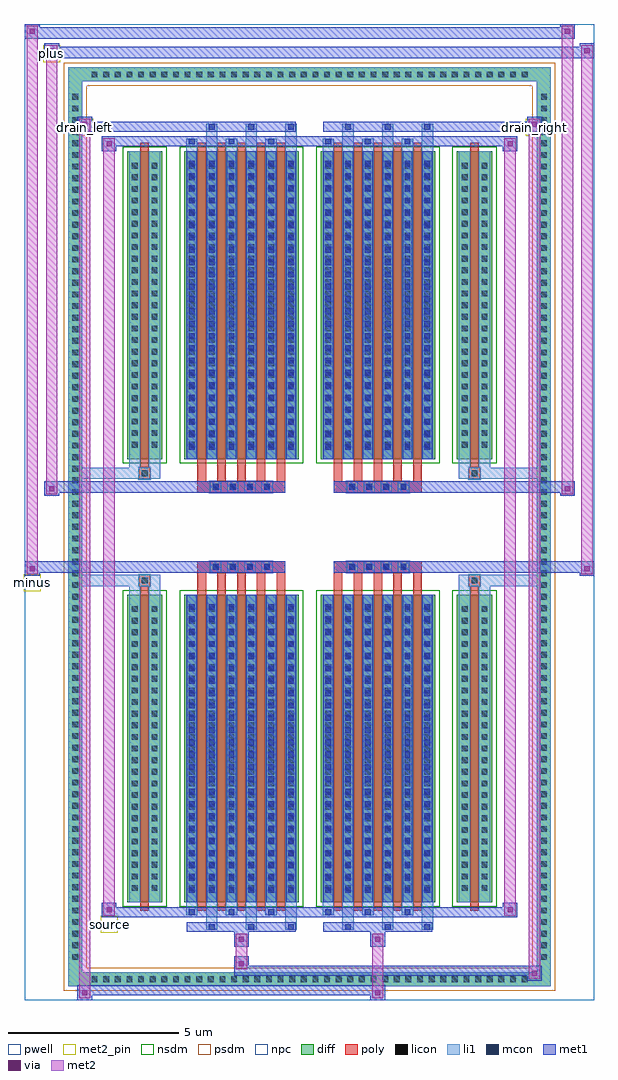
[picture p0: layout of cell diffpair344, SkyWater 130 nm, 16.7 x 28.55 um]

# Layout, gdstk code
import gdstk
lib = gdstk.Library(unit=1e-6, precision=5e-09)
def R(c, l, rs):  # rectangles x0, y0, x1, y1
    for r in rs: c.add(gdstk.rectangle(r[:2], r[2:], *l))
def A(c, l, x, y, w, h, nx, ny, dx, dy):  # array of equal rectangles
    R(c, l, [(x+i*dx, y+j*dy, x+i*dx+w, y+j*dy+h) for i in range(nx) for j in range(ny)])
def P(c, l, *ps):  # polygons
    for p in ps: c.add(gdstk.Polygon(p, *l))
pwell = (64, 44)
diff = (65, 20)
poly = (66, 20)
licon = (66, 44)
li1 = (67, 20)
mcon = (67, 44)
met1 = (68, 20)
via = (68, 44)
met2_pin = (69, 16)
met2 = (69, 20)
nsdm = (93, 44)
psdm = (94, 20)
npc = (95, 20)

diffpair344 = lib.new_cell('diffpair344')
R(diffpair344, pwell, [(-8.33,-13.84,8.33,14.71), (-5.65,-12.03,-0.01,-0.805), (0.01,-12.03,5.65,-0.805), (-5.65,0.805,-0.01,12.03), (0.01,0.805,5.65,12.03)])
A(diffpair344, diff, -6.495, -13.44, 0.41, 0.41, 38, 2, 0.34, 26.47)
A(diffpair344, diff, -7.06, -12.785, 0.41, 0.41, 1, 75, 0, 0.34)
A(diffpair344, diff, 6.65, -12.785, 0.41, 0.41, 1, 75, 0, 0.34)
R(diffpair344, diff, [(-6.495,-13.44,6.495,-13.03), (-7.06,-12.785,-6.65,12.785), (6.65,-12.785,7.06,12.785), (-5.34,-10.985,-4.31,-1.985), (-3.67,-10.985,-0.32,-1.985), (0.32,-10.985,3.67,-1.985), (4.31,-10.985,5.34,-1.985), (-5.34,1.985,-4.31,10.985), (-3.67,1.985,-0.32,10.985), (0.32,1.985,3.67,10.985), (4.31,1.985,5.34,10.985), (-6.495,13.03,6.495,13.44)])
P(diffpair344, diff, [(7.06,13.44),(-7.06,13.44),(-7.06,-13.03),(-6.65,-13.03),(-6.65,13.03),(6.65,13.03),(6.65,-13.03),(-6.65,-13.03),(-7.06,-13.03),(-7.06,-13.44),(7.06,-13.44)])
A(diffpair344, poly, -3.28, -11.235, 0.25, 9.5, 5, 2, 0.58, 12.97)
A(diffpair344, poly, 0.71, -11.235, 0.25, 9.5, 5, 2, 0.58, 12.97)
A(diffpair344, poly, -3.28, -1.735, 0.25, 0.4, 5, 2, 0.58, 3.07)
A(diffpair344, poly, 0.71, -1.735, 0.25, 0.4, 5, 2, 0.58, 3.07)
A(diffpair344, poly, -2.91, -1.335, 0.33, 0.33, 4, 2, 0.5, 2.34)
A(diffpair344, poly, 1.08, -1.335, 0.33, 0.33, 4, 2, 0.5, 2.34)
R(diffpair344, poly, [(-4.95,-11.235,-4.7,-1.735), (4.7,-11.235,4.95,-1.735), (-4.99,-1.735,-4.66,-1.405), (-4.99,-1.735,-4.66,-1.405), (4.66,-1.735,4.99,-1.405), (4.66,-1.735,4.99,-1.405), (-3.28,-1.335,-0.71,-1.005), (0.71,-1.335,3.28,-1.005), (-3.28,1.005,-0.71,1.335), (0.71,1.005,3.28,1.335), (-4.99,1.405,-4.66,1.735), (-4.99,1.405,-4.66,1.735), (4.66,1.405,4.99,1.735), (4.66,1.405,4.99,1.735), (-4.95,1.735,-4.7,11.235), (4.7,1.735,4.95,11.235)])
A(diffpair344, licon, -6.375, -13.32, 0.17, 0.17, 38, 2, 0.34, 26.47)
A(diffpair344, licon, -6.94, -12.665, 0.17, 0.17, 1, 75, 0, 0.34)
A(diffpair344, licon, 6.77, -12.665, 0.17, 0.17, 1, 75, 0, 0.34)
A(diffpair344, licon, -5.2, -10.65, 0.17, 0.17, 1, 25, 0, 0.34)
A(diffpair344, licon, -4.62, -10.65, 0.17, 0.17, 1, 25, 0, 0.34)
A(diffpair344, licon, -3.53, -10.65, 0.17, 0.17, 6, 25, 0.58, 0.34)
A(diffpair344, licon, 0.46, -10.65, 0.17, 0.17, 6, 25, 0.58, 0.34)
A(diffpair344, licon, 4.45, -10.65, 0.17, 0.17, 1, 25, 0, 0.34)
A(diffpair344, licon, 5.03, -10.65, 0.17, 0.17, 1, 25, 0, 0.34)
A(diffpair344, licon, -2.83, -1.255, 0.17, 0.17, 4, 2, 0.5, 2.34)
A(diffpair344, licon, 1.16, -1.255, 0.17, 0.17, 4, 2, 0.5, 2.34)
A(diffpair344, licon, -5.2, 2.32, 0.17, 0.17, 1, 25, 0, 0.34)
A(diffpair344, licon, -4.62, 2.32, 0.17, 0.17, 1, 25, 0, 0.34)
A(diffpair344, licon, -3.53, 2.32, 0.17, 0.17, 6, 25, 0.58, 0.34)
A(diffpair344, licon, 0.46, 2.32, 0.17, 0.17, 6, 25, 0.58, 0.34)
A(diffpair344, licon, 4.45, 2.32, 0.17, 0.17, 1, 25, 0, 0.34)
A(diffpair344, licon, 5.03, 2.32, 0.17, 0.17, 1, 25, 0, 0.34)
R(diffpair344, licon, [(-4.91,-1.655,-4.74,-1.485), (4.74,-1.655,4.91,-1.485), (-4.91,1.485,-4.74,1.655), (4.74,1.485,4.91,1.655)])
A(diffpair344, li1, -6.455, -13.4, 0.33, 0.33, 38, 2, 0.34, 26.47)
A(diffpair344, li1, -7.02, -12.745, 0.33, 0.33, 1, 75, 0, 0.34)
A(diffpair344, li1, 6.69, -12.745, 0.33, 0.33, 1, 75, 0, 0.34)
A(diffpair344, li1, -3.03, -11.79, 0.33, 0.805, 3, 2, 1.16, 22.775)
A(diffpair344, li1, -2.95, -11.79, 0.17, 0.17, 3, 2, 1.16, 23.41)
A(diffpair344, li1, 0.96, -11.79, 0.33, 0.805, 3, 2, 1.16, 22.775)
A(diffpair344, li1, 1.04, -11.79, 0.17, 0.17, 3, 2, 1.16, 23.41)
A(diffpair344, li1, -3.61, -11.36, 0.33, 0.375, 3, 2, 1.16, 22.345)
A(diffpair344, li1, -3.53, -11.36, 0.17, 0.17, 3, 2, 1.16, 22.55)
A(diffpair344, li1, 0.38, -11.36, 0.33, 0.375, 3, 2, 1.16, 22.345)
A(diffpair344, li1, 0.46, -11.36, 0.17, 0.17, 3, 2, 1.16, 22.55)
A(diffpair344, li1, -3.61, -10.985, 0.33, 9, 6, 2, 0.58, 12.97)
A(diffpair344, li1, 0.38, -10.985, 0.33, 9, 6, 2, 0.58, 12.97)
A(diffpair344, li1, -5.28, -10.73, 0.33, 0.33, 1, 25, 0, 0.34)
A(diffpair344, li1, -4.7, -10.73, 0.33, 0.33, 1, 25, 0, 0.34)
A(diffpair344, li1, -3.61, -10.73, 0.33, 0.33, 6, 25, 0.58, 0.34)
A(diffpair344, li1, 0.38, -10.73, 0.33, 0.33, 6, 25, 0.58, 0.34)
A(diffpair344, li1, 4.37, -10.73, 0.33, 0.33, 1, 25, 0, 0.34)
A(diffpair344, li1, 4.95, -10.73, 0.33, 0.33, 1, 25, 0, 0.34)
A(diffpair344, li1, -3.53, -10.71, 0.17, 0.17, 6, 24, 0.58, 0.36)
A(diffpair344, li1, -3.53, -10.71, 0.17, 8.45, 6, 2, 0.58, 12.97)
A(diffpair344, li1, 0.46, -10.71, 0.17, 0.17, 6, 24, 0.58, 0.36)
A(diffpair344, li1, 0.46, -10.71, 0.17, 8.45, 6, 2, 0.58, 12.97)
A(diffpair344, li1, -2.91, -1.335, 0.33, 0.33, 4, 2, 0.5, 2.34)
A(diffpair344, li1, 1.08, -1.335, 0.33, 0.33, 4, 2, 0.5, 2.34)
A(diffpair344, li1, -5.28, 2.24, 0.33, 0.33, 1, 25, 0, 0.34)
A(diffpair344, li1, -4.7, 2.24, 0.33, 0.33, 1, 25, 0, 0.34)
A(diffpair344, li1, -3.61, 2.24, 0.33, 0.33, 6, 25, 0.58, 0.34)
A(diffpair344, li1, 0.38, 2.24, 0.33, 0.33, 6, 25, 0.58, 0.34)
A(diffpair344, li1, 4.37, 2.24, 0.33, 0.33, 1, 25, 0, 0.34)
A(diffpair344, li1, 4.95, 2.24, 0.33, 0.33, 1, 25, 0, 0.34)
A(diffpair344, li1, -3.53, 2.26, 0.17, 0.17, 6, 24, 0.58, 0.36)
A(diffpair344, li1, 0.46, 2.26, 0.17, 0.17, 6, 24, 0.58, 0.36)
R(diffpair344, li1, [(-7.06,-13.44,-6.65,-13.03), (-7.06,-13.44,-6.65,-13.03), (-6.65,-13.44,6.65,-13.03), (6.65,-13.44,7.06,-13.03), (6.65,-13.44,7.06,-13.03), (-7.06,-13.03,-6.65,13.03), (6.65,-13.03,7.06,13.03), (-5.28,-10.985,-4.95,-1.985), (-4.7,-10.985,-4.37,-1.985), (4.37,-10.985,4.7,-1.985), (4.95,-10.985,5.28,-1.985), (-5.28,-1.985,-4.95,-1.405), (-4.7,-1.985,-4.37,-1.405), (4.37,-1.985,4.7,-1.405), (4.95,-1.985,5.28,-1.405), (-7.06,-1.735,-4.99,-1.405), (-5.28,-1.735,-4.99,-1.405), (-4.99,-1.735,-4.66,-1.405), (-4.66,-1.735,-4.37,-1.405), (4.37,-1.735,4.66,-1.405), (4.66,-1.735,4.99,-1.405), (4.66,-1.735,7.06,-1.405), (4.99,-1.735,5.28,-1.405), (-7.06,1.405,-4.99,1.735), (-5.28,1.405,-4.99,1.735), (-5.28,1.405,-4.95,1.985), (-4.99,1.405,-4.66,1.735), (-4.7,1.405,-4.37,1.985), (-4.66,1.405,-4.37,1.735), (4.37,1.405,4.66,1.735), (4.37,1.405,4.7,1.985), (4.66,1.405,4.99,1.735), (4.66,1.405,7.06,1.735), (4.95,1.405,5.28,1.985), (4.99,1.405,5.28,1.735), (-5.28,1.985,-4.95,10.985), (-4.7,1.985,-4.37,10.985), (4.37,1.985,4.7,10.985), (4.95,1.985,5.28,10.985), (-7.06,13.03,-6.65,13.44), (-7.06,13.03,-6.65,13.44), (-6.65,13.03,6.65,13.44), (6.65,13.03,7.06,13.44), (6.65,13.03,7.06,13.44)])
A(diffpair344, mcon, -2.95, -11.79, 0.17, 0.17, 3, 2, 1.16, 23.41)
A(diffpair344, mcon, 1.04, -11.79, 0.17, 0.17, 3, 2, 1.16, 23.41)
A(diffpair344, mcon, -3.53, -11.36, 0.17, 0.17, 3, 2, 1.16, 22.55)
A(diffpair344, mcon, 0.46, -11.36, 0.17, 0.17, 3, 2, 1.16, 22.55)
A(diffpair344, mcon, -3.53, -10.71, 0.17, 0.17, 6, 24, 0.58, 0.36)
A(diffpair344, mcon, 0.46, -10.71, 0.17, 0.17, 6, 24, 0.58, 0.36)
A(diffpair344, mcon, -2.83, -1.255, 0.17, 0.17, 4, 2, 0.5, 2.34)
A(diffpair344, mcon, 1.16, -1.255, 0.17, 0.17, 4, 2, 0.5, 2.34)
A(diffpair344, mcon, -3.53, 2.26, 0.17, 0.17, 6, 24, 0.58, 0.36)
A(diffpair344, mcon, 0.46, 2.26, 0.17, 0.17, 6, 24, 0.58, 0.36)
A(diffpair344, met1, -3.01, -11.85, 0.29, 0.29, 3, 2, 1.16, 23.41)
A(diffpair344, met1, 0.98, -11.85, 0.29, 0.29, 3, 2, 1.16, 23.41)
A(diffpair344, met1, -3.59, -11.42, 0.29, 0.29, 3, 2, 1.16, 22.55)
A(diffpair344, met1, 0.4, -11.42, 0.29, 0.29, 3, 2, 1.16, 22.55)
A(diffpair344, met1, -3.59, -10.985, 0.29, 9, 6, 2, 0.58, 12.97)
A(diffpair344, met1, 0.4, -10.985, 0.29, 9, 6, 2, 0.58, 12.97)
A(diffpair344, met1, -3.59, -10.77, 0.29, 0.29, 6, 24, 0.58, 0.36)
A(diffpair344, met1, 0.4, -10.77, 0.29, 0.29, 6, 24, 0.58, 0.36)
A(diffpair344, met1, -2.89, -1.315, 0.29, 0.29, 4, 2, 0.5, 2.34)
A(diffpair344, met1, 1.1, -1.315, 0.29, 0.29, 4, 2, 0.5, 2.34)
A(diffpair344, met1, -3.59, 2.2, 0.29, 0.29, 6, 24, 0.58, 0.36)
A(diffpair344, met1, 0.4, 2.2, 0.29, 0.29, 6, 24, 0.58, 0.36)
R(diffpair344, met1, [(-6.79,-13.84,-6.36,-13.41), (1.78,-13.84,2.21,-13.41), (-6.79,-13.7,2.21,-13.41), (6.36,-13.27,6.79,-12.84), (-2.21,-13.13,6.79,-12.84), (-2.21,-12.99,-1.78,-12.56), (-2.21,-12.28,-1.78,-11.85), (1.78,-12.28,2.21,-11.85), (-3.59,-11.85,-0.4,-11.56), (0.4,-11.85,3.59,-11.56), (-6.08,-11.42,-5.65,-10.99), (-6.08,-11.42,-3.59,-11.13), (-3.59,-11.42,-0.4,-11.13), (-0.4,-11.42,0.4,-11.13), (0.4,-11.42,3.59,-11.13), (3.59,-11.42,6.08,-11.13), (5.65,-11.42,6.08,-10.99), (-8.33,-1.435,-7.9,-1.005), (7.9,-1.435,8.33,-1.005), (-8.33,-1.335,-0.71,-1.005), (-3.28,-1.335,-0.71,-1.005), (0.71,-1.335,3.28,-1.005), (0.71,-1.335,8.33,-1.005), (-7.76,0.905,-7.33,1.335), (7.33,0.905,7.76,1.335), (-7.76,1.005,-3.28,1.335), (-3.28,1.005,-0.71,1.335), (0.71,1.005,3.28,1.335), (3.28,1.005,7.76,1.335), (-6.08,10.99,-5.65,11.42), (5.65,10.99,6.08,11.42), (-6.08,11.13,-3.59,11.42), (-3.59,11.13,-0.4,11.42), (-0.4,11.13,0.4,11.42), (0.4,11.13,3.59,11.42), (3.59,11.13,6.08,11.42), (-6.79,11.56,-6.36,11.99), (-6.79,11.56,-3.59,11.85), (-3.59,11.56,-0.4,11.85), (0.4,11.56,3.59,11.85), (3.59,11.56,6.79,11.85), (6.36,11.56,6.79,11.99), (-7.76,13.71,-7.33,14.14), (-7.76,13.71,-5.65,14.04), (-5.65,13.71,5.65,14.04), (5.65,13.71,8.33,14.04), (7.9,13.71,8.33,14.14), (-8.33,14.28,-7.9,14.71), (-8.33,14.28,-5.65,14.61), (-5.65,14.28,5.65,14.61), (5.65,14.28,7.76,14.61), (7.33,14.28,7.76,14.71)])
R(diffpair344, via, [(-6.65,-13.7,-6.5,-13.55), (1.92,-13.7,2.07,-13.55), (6.5,-13.13,6.65,-12.98), (-2.07,-12.85,-1.92,-12.7), (-2.07,-12.14,-1.92,-11.99), (1.92,-12.14,2.07,-11.99), (-5.94,-11.28,-5.79,-11.13), (5.79,-11.28,5.94,-11.13), (-8.19,-1.295,-8.04,-1.145), (8.04,-1.295,8.19,-1.145), (-7.62,1.045,-7.47,1.195), (7.47,1.045,7.62,1.195), (-5.94,11.13,-5.79,11.28), (5.79,11.13,5.94,11.28), (-6.65,11.7,-6.5,11.85), (6.5,11.7,6.65,11.85), (-7.62,13.85,-7.47,14), (8.04,13.85,8.19,14), (-8.19,14.42,-8.04,14.57), (7.47,14.42,7.62,14.57)])
R(diffpair344, met2_pin, [(-6.115,-11.87,-5.615,-11.37), (-8.365,-1.885,-7.865,-1.385), (-6.825,11.44,-6.325,11.94), (6.325,11.44,6.825,11.94), (-7.795,13.59,-7.295,14.09)])
R(diffpair344, met2, [(-6.74,-13.79,-6.41,-13.46), (-6.74,-13.79,-6.41,11.94), (1.83,-13.79,2.16,-13.46), (1.83,-13.46,2.16,-12.23), (6.41,-13.22,6.74,-12.89), (6.41,-13.22,6.74,11.94), (-2.16,-12.94,-1.83,-12.61), (-2.16,-12.61,-1.83,-12.23), (-2.16,-12.23,-1.83,-11.9), (1.83,-12.23,2.16,-11.9), (-6.03,-11.37,-5.7,-11.04), (-6.03,-11.37,-5.7,11.37), (5.7,-11.37,6.03,-11.04), (5.7,-11.37,6.03,11.37), (-8.28,-1.385,-7.95,-1.055), (-8.28,-1.385,-7.95,14.66), (7.95,-1.385,8.28,-1.055), (7.95,-1.385,8.28,14.09), (-7.71,0.955,-7.38,1.285), (-7.71,0.955,-7.38,14.09), (7.38,0.955,7.71,1.285), (7.38,0.955,7.71,14.66), (-6.03,11.04,-5.7,11.37), (5.7,11.04,6.03,11.37), (-6.74,11.61,-6.41,11.94), (6.41,11.61,6.74,11.94), (-7.71,13.76,-7.38,14.09), (7.95,13.76,8.28,14.09), (-8.28,14.33,-7.95,14.66), (7.38,14.33,7.71,14.66)])
P(diffpair344, met2, [(8.28,-1.385),(8.28,-1.385),(8.28,-1.055),(8.28,-1.055)],
  [(8.28,13.76),(8.28,13.76),(8.28,14.09),(8.28,14.09)],
  [(-7.95,-1.385),(-7.95,-1.385),(-7.95,-1.055),(-7.95,-1.055)],
  [(-7.95,14.33),(-7.95,14.33),(-7.95,14.66),(-7.95,14.66)],
  [(7.71,0.955),(7.71,0.955),(7.71,1.285),(7.71,1.285)],
  [(7.71,14.33),(7.71,14.33),(7.71,14.66),(7.71,14.66)],
  [(-7.38,0.955),(-7.38,0.955),(-7.38,1.285),(-7.38,1.285)],
  [(-7.38,13.76),(-7.38,13.76),(-7.38,14.09),(-7.38,14.09)],
  [(-6.41,-13.79),(-6.41,-13.79),(-6.41,-13.46),(-6.41,-13.46)],
  [(-6.41,11.61),(-6.41,11.61),(-6.41,11.94),(-6.41,11.94)],
  [(6.74,-13.22),(6.74,-13.22),(6.74,-12.89),(6.74,-12.89)],
  [(6.74,11.61),(6.74,11.61),(6.74,11.94),(6.74,11.94)],
  [(-5.7,-11.37),(-5.7,-11.37),(-5.7,-11.04),(-5.7,-11.04)],
  [(-5.7,11.04),(-5.7,11.04),(-5.7,11.37),(-5.7,11.37)],
  [(6.03,-11.37),(6.03,-11.37),(6.03,-11.04),(6.03,-11.04)],
  [(6.03,11.04),(6.03,11.04),(6.03,11.37),(6.03,11.37)])
R(diffpair344, nsdm, [(-5.47,-11.115,-4.18,-1.855), (-3.8,-11.115,-0.19,-1.855), (0.19,-11.115,3.8,-1.855), (4.18,-11.115,5.47,-1.855), (-5.47,1.855,-4.18,11.115), (-3.8,1.855,-0.19,11.115), (0.19,1.855,3.8,11.115), (4.18,1.855,5.47,11.115)])
P(diffpair344, psdm, [(7.19,13.57),(-7.19,13.57),(-7.19,-12.9),(-6.52,-12.9),(-6.52,12.9),(6.52,12.9),(6.52,-12.9),(-6.52,-12.9),(-7.19,-12.9),(-7.19,-13.57),(7.19,-13.57)])
A(diffpair344, npc, -2.93, -1.355, 0.37, 0.37, 4, 2, 0.5, 2.34)
A(diffpair344, npc, 1.06, -1.355, 0.37, 0.37, 4, 2, 0.5, 2.34)
R(diffpair344, npc, [(-5.01,-1.755,-4.64,-1.385), (4.64,-1.755,5.01,-1.385), (-2.93,-1.355,-2.06,-0.985), (-2.93,-1.355,-2.06,-0.985), (-2.43,-1.355,-1.56,-0.985), (-2.43,-1.355,-1.56,-0.985), (-1.93,-1.355,-1.06,-0.985), (-1.93,-1.355,-1.06,-0.985), (1.06,-1.355,1.93,-0.985), (1.06,-1.355,1.93,-0.985), (1.56,-1.355,2.43,-0.985), (1.56,-1.355,2.43,-0.985), (2.06,-1.355,2.93,-0.985), (2.06,-1.355,2.93,-0.985), (-2.93,0.985,-2.06,1.355), (-2.93,0.985,-2.06,1.355), (-2.43,0.985,-1.56,1.355), (-2.43,0.985,-1.56,1.355), (-1.93,0.985,-1.06,1.355), (-1.93,0.985,-1.06,1.355), (1.06,0.985,1.93,1.355), (1.06,0.985,1.93,1.355), (1.56,0.985,2.43,1.355), (1.56,0.985,2.43,1.355), (2.06,0.985,2.93,1.355), (2.06,0.985,2.93,1.355), (-5.01,1.385,-4.64,1.755), (4.64,1.385,5.01,1.755)])
diffpair344.add(gdstk.Label('minus', (-8.115,-1.635), layer=69, texttype=5))
diffpair344.add(gdstk.Label('drain_right', (6.575,11.69), layer=69, texttype=5))
diffpair344.add(gdstk.Label('drain_left', (-6.575,11.69), layer=69, texttype=5))
diffpair344.add(gdstk.Label('source', (-5.865,-11.62), layer=69, texttype=5))
diffpair344.add(gdstk.Label('plus', (-7.545,13.84), layer=69, texttype=5))

lib.write_gds('diffpair344.gds')
